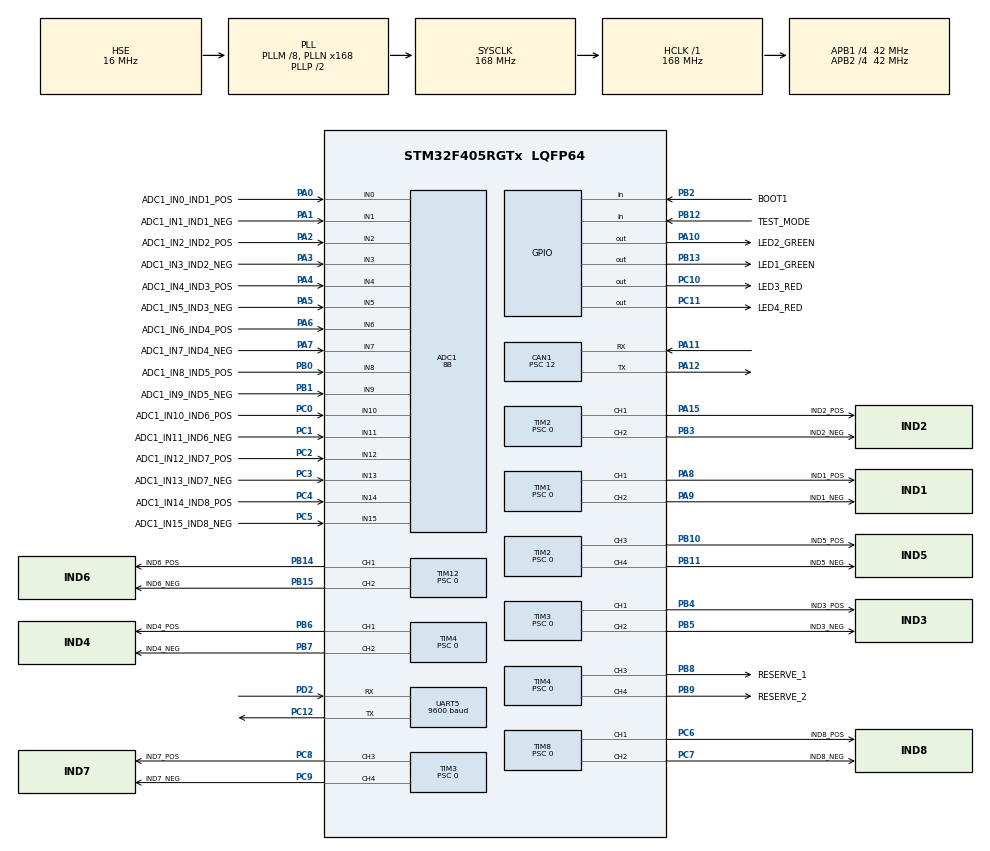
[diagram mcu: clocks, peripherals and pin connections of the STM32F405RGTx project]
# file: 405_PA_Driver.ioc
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ADC1.Channel-0\#ChannelRegularConversion=ADC_CHANNEL_4
ADC1.NbrOfConversionFlag=1
ADC1.Rank-0\#ChannelRegularConversion=1
ADC1.Resolution=ADC_RESOLUTION_8B
ADC1.SamplingTime-0\#ChannelRegularConversion=ADC_SAMPLETIME_3CYCLES
ADC1.master=1
CAN1.ABOM=ENABLE
CAN1.AWUM=DISABLE
CAN1.BS1=CAN_BS1_11TQ
CAN1.BS2=CAN_BS2_2TQ
CAN1.CalculateBaudRate=250000
CAN1.CalculateTimeBit=4000
CAN1.CalculateTimeQuantum=285.7142857142857
CAN1.NART=ENABLE
CAN1.Prescaler=12
CAN1.RFLM=ENABLE
CAN1.SJW=CAN_SJW_1TQ
CAN1.TXFP=ENABLE
Mcu.Family=STM32F4
Mcu.Name=STM32F405RGTx
Mcu.Package=LQFP64
NVIC.ADC_IRQn=true\:5\:0\:true\:false\:true\:true\:true\:true
NVIC.CAN1_RX0_IRQn=true\:0\:0\:false\:false\:true\:true\:true\:true
NVIC.CAN1_RX1_IRQn=true\:0\:0\:false\:false\:true\:true\:true\:true
NVIC.CAN1_SCE_IRQn=true\:0\:0\:false\:false\:true\:true\:true\:true
NVIC.CAN1_TX_IRQn=true\:0\:0\:false\:false\:true\:true\:true\:true
NVIC.PriorityGroup=NVIC_PRIORITYGROUP_4
NVIC.TIM5_IRQn=true\:0\:0\:false\:false\:true\:true\:true\:true
NVIC.TIM6_DAC_IRQn=true\:15\:0\:false\:false\:true\:false\:true\:true
NVIC.TIM7_IRQn=true\:0\:0\:false\:false\:true\:true\:true\:true
NVIC.TIM8_TRG_COM_TIM14_IRQn=true\:0\:0\:false\:false\:true\:true\:true\:true
NVIC.TimeBase=TIM6_DAC_IRQn
NVIC.TimeBaseIP=TIM6
NVIC.UART5_IRQn=true\:0\:0\:false\:false\:true\:true\:true\:true
PA0-WKUP.GPIO_Label=ADC1_IN0_IND1_POS
PA0-WKUP.Signal=ADCx_IN0
PA1.GPIO_Label=ADC1_IN1_IND1_NEG
PA1.Signal=ADCx_IN1
PA10.GPIO_Label=LED2_GREEN
PA10.Signal=GPIO_Output
PA11.Mode=CAN_Activate
PA11.Signal=CAN1_RX
PA12.Mode=CAN_Activate
PA12.Signal=CAN1_TX
PA13.Mode=Serial_Wire
PA13.Signal=SYS_JTMS-SWDIO
PA14.Mode=Serial_Wire
PA14.Signal=SYS_JTCK-SWCLK
PA15.GPIO_Label=IND2_POS
PA15.GPIO_PuPd=GPIO_NOPULL
PA15.GPIO_Speed=GPIO_SPEED_FREQ_HIGH
PA15.Signal=S_TIM2_CH1_ETR
PA2.GPIO_Label=ADC1_IN2_IND2_POS
PA2.Signal=ADCx_IN2
PA3.GPIO_Label=ADC1_IN3_IND2_NEG
PA3.Signal=ADCx_IN3
PA4.GPIO_Label=ADC1_IN4_IND3_POS
PA4.Signal=ADCx_IN4
PA5.GPIO_Label=ADC1_IN5_IND3_NEG
PA5.Signal=ADCx_IN5
PA6.GPIO_Label=ADC1_IN6_IND4_POS
PA6.Signal=ADCx_IN6
PA7.GPIO_Label=ADC1_IN7_IND4_NEG
PA7.Signal=ADCx_IN7
PA8.GPIO_Label=IND1_POS
PA8.GPIO_PuPd=GPIO_NOPULL
PA8.GPIO_Speed=GPIO_SPEED_FREQ_HIGH
PA8.Signal=S_TIM1_CH1
PA9.GPIO_Label=IND1_NEG
PA9.GPIO_PuPd=GPIO_NOPULL
PA9.GPIO_Speed=GPIO_SPEED_FREQ_HIGH
PA9.Signal=S_TIM1_CH2
PB0.GPIO_Label=ADC1_IN8_IND5_POS
PB0.Signal=ADCx_IN8
PB1.GPIO_Label=ADC1_IN9_IND5_NEG
PB1.Signal=ADCx_IN9
PB10.GPIO_Label=IND5_POS
PB10.GPIO_PuPd=GPIO_NOPULL
PB10.GPIO_Speed=GPIO_SPEED_FREQ_HIGH
PB10.Signal=S_TIM2_CH3
PB11.GPIO_Label=IND5_NEG
PB11.GPIO_PuPd=GPIO_NOPULL
PB11.GPIO_Speed=GPIO_SPEED_FREQ_HIGH
PB11.Signal=S_TIM2_CH4
PB12.GPIO_Label=TEST_MODE
PB12.Signal=GPIO_Input
PB13.GPIO_Label=LED1_GREEN
PB13.Signal=GPIO_Output
PB14.GPIO_Label=IND6_POS
PB14.GPIO_Speed=GPIO_SPEED_FREQ_HIGH
PB14.Signal=S_TIM12_CH1
PB15.GPIO_Label=IND6_NEG
PB15.GPIO_Speed=GPIO_SPEED_FREQ_HIGH
PB15.Signal=S_TIM12_CH2
PB2.GPIO_Label=BOOT1
PB2.Signal=GPIO_Input
PB3.GPIO_Label=IND2_NEG
PB3.GPIO_PuPd=GPIO_NOPULL
PB3.GPIO_Speed=GPIO_SPEED_FREQ_HIGH
PB3.Signal=S_TIM2_CH2
PB4.GPIO_Label=IND3_POS
PB4.GPIO_PuPd=GPIO_NOPULL
PB4.GPIO_Speed=GPIO_SPEED_FREQ_HIGH
PB4.Signal=S_TIM3_CH1
PB5.GPIO_Label=IND3_NEG
PB5.GPIO_PuPd=GPIO_NOPULL
PB5.GPIO_Speed=GPIO_SPEED_FREQ_HIGH
PB5.Signal=S_TIM3_CH2
PB6.GPIO_Label=IND4_POS
PB6.GPIO_Speed=GPIO_SPEED_FREQ_HIGH
PB6.Signal=S_TIM4_CH1
PB7.GPIO_Label=IND4_NEG
PB7.GPIO_Speed=GPIO_SPEED_FREQ_HIGH
PB7.Signal=S_TIM4_CH2
PB8.GPIO_Label=RESERVE_1
PB8.GPIO_Speed=GPIO_SPEED_FREQ_HIGH
PB8.Signal=S_TIM4_CH3
PB9.GPIO_Label=RESERVE_2
PB9.GPIO_Speed=GPIO_SPEED_FREQ_HIGH
PB9.Signal=S_TIM4_CH4
PC0.GPIO_Label=ADC1_IN10_IND6_POS
PC0.Signal=ADCx_IN10
PC1.GPIO_Label=ADC1_IN11_IND6_NEG
PC1.Signal=ADCx_IN11
PC10.GPIO_Label=LED3_RED
PC10.Signal=GPIO_Output
PC11.GPIO_Label=LED4_RED
PC11.Signal=GPIO_Output
PC12.Mode=Asynchronous
PC12.Signal=UART5_TX
PC2.GPIO_Label=ADC1_IN12_IND7_POS
PC2.Signal=ADCx_IN12
PC3.GPIO_Label=ADC1_IN13_IND7_NEG
PC3.Signal=ADCx_IN13
PC4.GPIO_Label=ADC1_IN14_IND8_POS
PC4.Signal=ADCx_IN14
PC5.GPIO_Label=ADC1_IN15_IND8_NEG
PC5.Signal=ADCx_IN15
PC6.GPIO_Label=IND8_POS
PC6.GPIO_Speed=GPIO_SPEED_FREQ_HIGH
PC6.Signal=S_TIM8_CH1
PC7.GPIO_Label=IND8_NEG
PC7.GPIO_Speed=GPIO_SPEED_FREQ_HIGH
PC7.Signal=S_TIM8_CH2
PC8.GPIO_Label=IND7_POS
PC8.GPIO_PuPd=GPIO_NOPULL
PC8.GPIO_Speed=GPIO_SPEED_FREQ_HIGH
PC8.Signal=S_TIM3_CH3
PC9.GPIO_Label=IND7_NEG
PC9.GPIO_PuPd=GPIO_NOPULL
PC9.GPIO_Speed=GPIO_SPEED_FREQ_HIGH
PC9.Signal=S_TIM3_CH4
PD2.Mode=Asynchronous
PD2.Signal=UART5_RX
PH0-OSC_IN.Mode=HSE-External-Oscillator
PH0-OSC_IN.Signal=RCC_OSC_IN
PH1-OSC_OUT.Mode=HSE-External-Oscillator
PH1-OSC_OUT.Signal=RCC_OSC_OUT
ProjectManager.HeapSize=0x2000
ProjectManager.StackSize=0x2000
ProjectManager.TargetToolchain=EWARM V8.32
RCC.48MHZClocksFreq_Value=84000000
RCC.AHBFreq_Value=168000000
RCC.APB1CLKDivider=RCC_HCLK_DIV4
RCC.APB1Freq_Value=42000000
RCC.APB1TimFreq_Value=84000000
RCC.APB2CLKDivider=RCC_HCLK_DIV4
RCC.APB2Freq_Value=42000000
RCC.APB2TimFreq_Value=84000000
RCC.CortexFreq_Value=168000000
RCC.HCLKFreq_Value=168000000
RCC.HSE_VALUE=16000000
RCC.HSI_VALUE=16000000
RCC.LSE_VALUE=32768
RCC.PLLM=8
RCC.PLLN=168
RCC.PLLSourceVirtual=RCC_PLLSOURCE_HSE
RCC.SYSCLKFreq_VALUE=168000000
RCC.SYSCLKSource=RCC_SYSCLKSOURCE_PLLCLK
RCC.VCOOutputFreq_Value=336000000
SH.ADCx_IN0.0=ADC1_IN0,IN0
SH.ADCx_IN1.0=ADC1_IN1,IN1
SH.ADCx_IN10.0=ADC1_IN10,IN10
SH.ADCx_IN11.0=ADC1_IN11,IN11
SH.ADCx_IN12.0=ADC1_IN12,IN12
SH.ADCx_IN13.0=ADC1_IN13,IN13
SH.ADCx_IN14.0=ADC1_IN14,IN14
SH.ADCx_IN15.0=ADC1_IN15,IN15
SH.ADCx_IN2.0=ADC1_IN2,IN2
SH.ADCx_IN3.0=ADC1_IN3,IN3
SH.ADCx_IN4.0=ADC1_IN4,IN4
SH.ADCx_IN5.0=ADC1_IN5,IN5
SH.ADCx_IN6.0=ADC1_IN6,IN6
SH.ADCx_IN7.0=ADC1_IN7,IN7
SH.ADCx_IN8.0=ADC1_IN8,IN8
SH.ADCx_IN9.0=ADC1_IN9,IN9
SH.S_TIM12_CH1.0=TIM12_CH1,PWM Generation1 CH1
SH.S_TIM12_CH2.0=TIM12_CH2,PWM Generation2 CH2
SH.S_TIM1_CH1.0=TIM1_CH1,PWM Generation1 CH1
SH.S_TIM1_CH2.0=TIM1_CH2,PWM Generation2 CH2
SH.S_TIM2_CH1_ETR.0=TIM2_CH1,PWM Generation1 CH1
SH.S_TIM2_CH2.0=TIM2_CH2,PWM Generation2 CH2
SH.S_TIM2_CH3.0=TIM2_CH3,PWM Generation3 CH3
SH.S_TIM2_CH4.0=TIM2_CH4,PWM Generation4 CH4
SH.S_TIM3_CH1.0=TIM3_CH1,PWM Generation1 CH1
SH.S_TIM3_CH2.0=TIM3_CH2,PWM Generation2 CH2
SH.S_TIM3_CH3.0=TIM3_CH3,PWM Generation3 CH3
SH.S_TIM3_CH4.0=TIM3_CH4,PWM Generation4 CH4
SH.S_TIM4_CH1.0=TIM4_CH1,PWM Generation1 CH1
SH.S_TIM4_CH2.0=TIM4_CH2,PWM Generation2 CH2
SH.S_TIM4_CH3.0=TIM4_CH3,PWM Generation3 CH3
SH.S_TIM4_CH4.0=TIM4_CH4,PWM Generation4 CH4
SH.S_TIM8_CH1.0=TIM8_CH1,PWM Generation1 CH1
SH.S_TIM8_CH2.0=TIM8_CH2,PWM Generation2 CH2
TIM1.AutoReloadPreload=TIM_AUTORELOAD_PRELOAD_ENABLE
TIM1.Channel-PWM\ Generation1\ CH1=TIM_CHANNEL_1
TIM1.Channel-PWM\ Generation2\ CH2=TIM_CHANNEL_2
TIM1.OC1Preload_PWM=ENABLE
TIM1.OC2Preload_PWM=ENABLE
TIM1.OCPolarity_1=TIM_OCPOLARITY_LOW
TIM1.OCPolarity_2=TIM_OCPOLARITY_LOW
TIM1.Period=656
TIM1.Prescaler=0
TIM1.Pulse-PWM\ Generation1\ CH1=0
TIM1.Pulse-PWM\ Generation2\ CH2=0
TIM12.Channel-PWM\ Generation1\ CH1=TIM_CHANNEL_1
TIM12.Channel-PWM\ Generation2\ CH2=TIM_CHANNEL_2
TIM12.OCPolarity_1=TIM_OCPOLARITY_LOW
TIM12.OCPolarity_2=TIM_OCPOLARITY_LOW
TIM12.Period=656
TIM12.Prescaler=0
TIM12.Pulse-PWM\ Generation1\ CH1=0
TIM12.Pulse-PWM\ Generation2\ CH2=0
TIM14.AutoReloadPreload=TIM_AUTORELOAD_PRELOAD_ENABLE
TIM14.Channel=TIM_CHANNEL_1
TIM14.Period=100
TIM14.Prescaler=84
TIM2.AutoReloadPreload=TIM_AUTORELOAD_PRELOAD_ENABLE
TIM2.Channel-PWM\ Generation1\ CH1=TIM_CHANNEL_1
TIM2.Channel-PWM\ Generation2\ CH2=TIM_CHANNEL_2
TIM2.Channel-PWM\ Generation3\ CH3=TIM_CHANNEL_3
TIM2.Channel-PWM\ Generation4\ CH4=TIM_CHANNEL_4
TIM2.OCPolarity_1=TIM_OCPOLARITY_LOW
TIM2.OCPolarity_2=TIM_OCPOLARITY_LOW
TIM2.OCPolarity_3=TIM_OCPOLARITY_LOW
TIM2.OCPolarity_4=TIM_OCPOLARITY_LOW
TIM2.Period=656
TIM2.Prescaler=0
TIM2.Pulse-PWM\ Generation1\ CH1=0
TIM2.Pulse-PWM\ Generation2\ CH2=0
TIM2.Pulse-PWM\ Generation3\ CH3=0
TIM2.Pulse-PWM\ Generation4\ CH4=0
TIM2.TIM_MasterOutputTrigger=TIM_TRGO_RESET
TIM3.AutoReloadPreload=TIM_AUTORELOAD_PRELOAD_ENABLE
TIM3.Channel-PWM\ Generation1\ CH1=TIM_CHANNEL_1
TIM3.Channel-PWM\ Generation2\ CH2=TIM_CHANNEL_2
TIM3.Channel-PWM\ Generation3\ CH3=TIM_CHANNEL_3
TIM3.Channel-PWM\ Generation4\ CH4=TIM_CHANNEL_4
TIM3.OCPolarity_1=TIM_OCPOLARITY_LOW
TIM3.OCPolarity_2=TIM_OCPOLARITY_LOW
TIM3.OCPolarity_3=TIM_OCPOLARITY_LOW
TIM3.OCPolarity_4=TIM_OCPOLARITY_LOW
TIM3.Period=325
TIM3.Prescaler=0
TIM3.Pulse-PWM\ Generation1\ CH1=0
TIM3.Pulse-PWM\ Generation2\ CH2=0
TIM3.Pulse-PWM\ Generation3\ CH3=0
TIM3.Pulse-PWM\ Generation4\ CH4=0
TIM4.AutoReloadPreload=TIM_AUTORELOAD_PRELOAD_ENABLE
TIM4.Channel-PWM\ Generation1\ CH1=TIM_CHANNEL_1
TIM4.Channel-PWM\ Generation2\ CH2=TIM_CHANNEL_2
TIM4.Channel-PWM\ Generation3\ CH3=TIM_CHANNEL_3
TIM4.Channel-PWM\ Generation4\ CH4=TIM_CHANNEL_4
TIM4.OCPolarity_1=TIM_OCPOLARITY_LOW
TIM4.OCPolarity_2=TIM_OCPOLARITY_LOW
TIM4.OCPolarity_3=TIM_OCPOLARITY_LOW
TIM4.OCPolarity_4=TIM_OCPOLARITY_LOW
TIM4.Period=656
TIM4.Prescaler=0
TIM4.Pulse-PWM\ Generation1\ CH1=0
TIM4.Pulse-PWM\ Generation2\ CH2=0
TIM4.Pulse-PWM\ Generation3\ CH3=0
TIM5.AutoReloadPreload=TIM_AUTORELOAD_PRELOAD_ENABLE
TIM5.Period=5999
TIM5.Prescaler=13999
TIM7.Period=600
TIM7.Prescaler=140
TIM8.Channel-PWM\ Generation1\ CH1=TIM_CHANNEL_1
TIM8.Channel-PWM\ Generation2\ CH2=TIM_CHANNEL_2
TIM8.OCPolarity_1=TIM_OCPOLARITY_LOW
TIM8.OCPolarity_2=TIM_OCPOLARITY_LOW
TIM8.Period=656
TIM8.Prescaler=0
TIM8.Pulse-PWM\ Generation1\ CH1=0
TIM8.Pulse-PWM\ Generation2\ CH2=0
UART5.BaudRate=9600
UART5.Mode=MODE_RX
UART5.OverSampling=UART_OVERSAMPLING_16
UART5.VirtualMode=Asynchronous
VP_CRC_VS_CRC.Mode=CRC_Activate
VP_SYS_VS_tim6.Mode=TIM6
VP_TIM14_VS_ClockSourceINT.Mode=Enable_Timer
VP_TIM14_VS_no_output1.Mode=Output Compare1 No Output
VP_TIM5_VS_ClockSourceINT.Mode=Internal
VP_TIM7_VS_ClockSourceINT.Mode=Enable_Timer
board=custom

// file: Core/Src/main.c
/* USER CODE BEGIN Header */
/**
  ******************************************************************************
  * @file           : main.c
  * @brief          : Main program body
  ******************************************************************************
  * @attention
  *
  * Copyright (c) 2022 STMicroelectronics.
  * All rights reserved.
  *
  * This software is licensed under terms that can be found in the LICENSE file
  * in the root directory of this software component.
  * If no LICENSE file comes with this software, it is provided AS-IS.
  *
  ******************************************************************************
  */
/* USER CODE END Header */
#include "main.h"
#include "adc.h"
#include "can.h"
#include "crc.h"
#include "tim.h"
#include "usart.h"
#include "gpio.h"

/* USER CODE BEGIN Includes */
#include "App\c_interface\sig_gen_interface.h"
/* USER CODE END Includes */

/* USER CODE BEGIN PD */
void TestFreqChange();
void MY_SIG_GEN_Init();
/* USER CODE END PD */

/* USER CODE BEGIN PV */
  SIG_GEN_HandleTypeDef sig_gen_0 = {0};
  SIG_GEN_HandleTypeDef sig_gen_1 = {0};
  SIG_GEN_HandleTypeDef sig_gen_2 = {0};
  SIG_GEN_HandleTypeDef sig_gen_3 = {0};
  SIG_GEN_HandleTypeDef sig_gen_4 = {0};
  SIG_GEN_HandleTypeDef sig_gen_5 = {0};
  SIG_GEN_HandleTypeDef sig_gen_6 = {0};
  SIG_GEN_HandleTypeDef sig_gen_7 = {0};
  static const uint32_t DELAY = 6000;

  static SIG_GEN_RangeCoeff amp_array_[] = {
    { 0., 0.3, 1.0 },
    { 0.3, 0.5, 1.0 },
    { 0.5, 1.0, 1.0 }
  };

  static SIG_GEN_RangeCoeff freq_array_[] = {
    { 0., 20., 1.0 },
    { 20., 50., 1.0 },
    { 50., 5000., 1.0 }
  };

  static SIG_GEN_CoeffsInitStruct corr_array_[] = {
    amp_array_,
    3,
    freq_array_,
    3
  };

/* USER CODE END PV */

void SystemClock_Config(void);

int main(void)
{

  /* MCU Configuration--------------------------------------------------------*/

  /* Reset of all peripherals, Initializes the Flash interface and the Systick. */
  HAL_Init();

  /* Configure the system clock */
  SystemClock_Config();

  /* Initialize all configured peripherals */
  MX_GPIO_Init();
  MX_ADC1_Init();
  MX_TIM1_Init();
  MX_TIM2_Init();
  MX_TIM3_Init();
  MX_TIM4_Init();
  MX_TIM8_Init();
  MX_TIM12_Init();
  MX_CAN1_Init();
  MX_CRC_Init();
  MX_TIM5_Init();
  MX_TIM7_Init();
  MX_UART5_Init();
  MX_TIM14_Init();
  /* USER CODE BEGIN 2 */
//  InitPwmControllers();
  MY_SIG_GEN_Init();
  HAL_TIM_Base_Start_IT(&htim14);
//  SIG_GEN_SetSignalType(&sig_gen_3, SIG_GEN_CARRIER, SIG_GEN_TYPE_SQUARE);
//  HAL_Delay(DELAY);
//  SIG_GEN_SetSignalType(&sig_gen_3, SIG_GEN_CARRIER, SIG_GEN_TYPE_TRIANGLE);
//  HAL_Delay(DELAY);
//  SIG_GEN_SetSignalType(&sig_gen_3, SIG_GEN_CARRIER, SIG_GEN_TYPE_SAW);
  /* USER CODE END 2 */

  /* Infinite loop */
  while (1)
  {

    /* USER CODE BEGIN 3 */
//    SIG_GEN_SetSignalType(&sig_gen_3, SIG_GEN_CARRIER, SIG_GEN_TYPE_SINUS);
//    HAL_Delay(3000);
//    TestAmpChange();
    TestFreqChange();
//    SIG_GEN_SetSignalType(&sig_gen_3, SIG_GEN_CARRIER, SIG_GEN_TYPE_SQUARE);
//    TestAmpChange();
//    TestFreqChange();
//    SIG_GEN_SetSignalType(&sig_gen_3, SIG_GEN_CARRIER, SIG_GEN_TYPE_TRIANGLE);
//    TestAmpChange();
//    TestFreqChange();
//    SIG_GEN_SetSignalType(&sig_gen_3, SIG_GEN_CARRIER, SIG_GEN_TYPE_SAW);
//    TestAmpChange();
//    TestFreqChange();
//    TestAmpModChange();

//    SIG_GEN_SetCarrierAmp(&sig_gen_3, 1.0);
//    SIG_GEN_SetFreq(&sig_gen_3, SIG_GEN_CARRIER, 10);
//    SIG_GEN_SetSignalType(&sig_gen_3, SIG_GEN_AMP_MOD, SIG_GEN_TYPE_SINUS);
//    HAL_Delay(DELAY);
//    SIG_GEN_SetSignalType(&sig_gen_3, SIG_GEN_AMP_MOD, SIG_GEN_TYPE_SQUARE);
//    HAL_Delay(DELAY);
//    SIG_GEN_SetSignalType(&sig_gen_3, SIG_GEN_AMP_MOD, SIG_GEN_TYPE_TRIANGLE);
//    HAL_Delay(DELAY);
//    SIG_GEN_SetSignalType(&sig_gen_3, SIG_GEN_AMP_MOD, SIG_GEN_TYPE_SAW);
//    HAL_Delay(DELAY);
//    TestModDepthChange();
//    TestModSensChange();
  }
  /* USER CODE END 3 */
}

void SystemClock_Config(void)
{
  RCC_OscInitTypeDef RCC_OscInitStruct = {0};
  RCC_ClkInitTypeDef RCC_ClkInitStruct = {0};

  /** Configure the main internal regulator output voltage
  */
  __HAL_RCC_PWR_CLK_ENABLE();
  __HAL_PWR_VOLTAGESCALING_CONFIG(PWR_REGULATOR_VOLTAGE_SCALE1);
  /** Initializes the RCC Oscillators according to the specified parameters
  * in the RCC_OscInitTypeDef structure.
  */
  RCC_OscInitStruct.OscillatorType = RCC_OSCILLATORTYPE_HSE;
  RCC_OscInitStruct.HSEState = RCC_HSE_ON;
  RCC_OscInitStruct.PLL.PLLState = RCC_PLL_ON;
  RCC_OscInitStruct.PLL.PLLSource = RCC_PLLSOURCE_HSE;
  RCC_OscInitStruct.PLL.PLLM = 8;
  RCC_OscInitStruct.PLL.PLLN = 168;
  RCC_OscInitStruct.PLL.PLLP = RCC_PLLP_DIV2;
  RCC_OscInitStruct.PLL.PLLQ = 4;
  if (HAL_RCC_OscConfig(&RCC_OscInitStruct) != HAL_OK)
  {
    Error_Handler();
  }
  /** Initializes the CPU, AHB and APB buses clocks
  */
  RCC_ClkInitStruct.ClockType = RCC_CLOCKTYPE_HCLK|RCC_CLOCKTYPE_SYSCLK
                              |RCC_CLOCKTYPE_PCLK1|RCC_CLOCKTYPE_PCLK2;
  RCC_ClkInitStruct.SYSCLKSource = RCC_SYSCLKSOURCE_PLLCLK;
  RCC_ClkInitStruct.AHBCLKDivider = RCC_SYSCLK_DIV1;
  RCC_ClkInitStruct.APB1CLKDivider = RCC_HCLK_DIV4;
  RCC_ClkInitStruct.APB2CLKDivider = RCC_HCLK_DIV4;

  if (HAL_RCC_ClockConfig(&RCC_ClkInitStruct, FLASH_LATENCY_5) != HAL_OK)
  {
    Error_Handler();
  }
}

/* USER CODE BEGIN 4 */
void MY_SIG_GEN_Init() {
  sig_gen_0.pwm_timer = &htim1;
  sig_gen_0.channels[0] = TIM_CHANNEL_1;
  sig_gen_0.channels[1] = TIM_CHANNEL_2;
  sig_gen_0.min_duty_cycle_percent = 60;
  sig_gen_0.max_duty_cycle_percent = 75;
  if (SIG_GEN_Init(&sig_gen_0) != SIG_GEN_OK) {
    Error_Handler();
  }

  sig_gen_1.pwm_timer = &htim2;
  sig_gen_1.channels[0] = TIM_CHANNEL_1;
  sig_gen_1.channels[1] = TIM_CHANNEL_2;
  sig_gen_1.min_duty_cycle_percent = 60;
  sig_gen_1.max_duty_cycle_percent = 75;
  if (SIG_GEN_Init(&sig_gen_1) != SIG_GEN_OK) {
    Error_Handler();
  }

  sig_gen_2.pwm_timer = &htim2;
  sig_gen_2.channels[0] = TIM_CHANNEL_3;
  sig_gen_2.channels[1] = TIM_CHANNEL_4;
  sig_gen_2.min_duty_cycle_percent = 60;
  sig_gen_2.max_duty_cycle_percent = 75;
  if (SIG_GEN_Init(&sig_gen_2) != SIG_GEN_OK) {
    Error_Handler();
  }

  sig_gen_3.pwm_timer = &htim3;
  sig_gen_3.channels[0] = TIM_CHANNEL_1;
  sig_gen_3.channels[1] = TIM_CHANNEL_2;
  sig_gen_3.min_duty_cycle_percent = 55;
  sig_gen_3.max_duty_cycle_percent = 85;
  sig_gen_3.coeffs = corr_array_;
  if (SIG_GEN_Init(&sig_gen_3) != SIG_GEN_OK) {
    Error_Handler();
  }
  SIG_GEN_SetSignalType(&sig_gen_3, SIG_GEN_CARRIER, SIG_GEN_TYPE_SINUS);
  SIG_GEN_SetFreq(&sig_gen_3, SIG_GEN_CARRIER, 100.);

  sig_gen_4.pwm_timer = &htim3;
  sig_gen_4.channels[0] = TIM_CHANNEL_3;
  sig_gen_4.channels[1] = TIM_CHANNEL_4;
  sig_gen_4.min_duty_cycle_percent = 60;
  sig_gen_4.max_duty_cycle_percent = 75;
  if (SIG_GEN_Init(&sig_gen_4) != SIG_GEN_OK) {
    Error_Handler();
  }

  sig_gen_5.pwm_timer = &htim4;
  sig_gen_5.channels[0] = TIM_CHANNEL_1;
  sig_gen_5.channels[1] = TIM_CHANNEL_2;
  sig_gen_5.min_duty_cycle_percent = 60;
  sig_gen_5.max_duty_cycle_percent = 75;
  if (SIG_GEN_Init(&sig_gen_5) != SIG_GEN_OK) {
    Error_Handler();
  }

  sig_gen_6.pwm_timer = &htim8;
  sig_gen_6.channels[0] = TIM_CHANNEL_1;
  sig_gen_6.channels[1] = TIM_CHANNEL_2;
  sig_gen_6.min_duty_cycle_percent = 60;
  sig_gen_6.max_duty_cycle_percent = 75;
  if (SIG_GEN_Init(&sig_gen_6) != SIG_GEN_OK) {
    Error_Handler();
  }

  sig_gen_7.pwm_timer = &htim12;
  sig_gen_7.channels[0] = TIM_CHANNEL_1;
  sig_gen_7.channels[1] = TIM_CHANNEL_2;
  sig_gen_7.min_duty_cycle_percent = 60;
  sig_gen_7.max_duty_cycle_percent = 75;
  if (SIG_GEN_Init(&sig_gen_7) != SIG_GEN_OK) {
    Error_Handler();
  }
}

void TestAmpChange() {
  SIG_GEN_SetCarrierAmp(&sig_gen_3, 0.0);
  HAL_Delay(DELAY);
  SIG_GEN_SetCarrierAmp(&sig_gen_3, 0.3);
  HAL_Delay(DELAY);
  SIG_GEN_SetCarrierAmp(&sig_gen_3, 0.5);
  HAL_Delay(DELAY);
  SIG_GEN_SetCarrierAmp(&sig_gen_3, 1.0);
  HAL_Delay(DELAY);
}

void TestFreqChange() {
//  SIG_GEN_SetFreq(&sig_gen_3, SIG_GEN_CARRIER, 1.);
//  HAL_Delay(DELAY);
//  SIG_GEN_SetFreq(&sig_gen_3, SIG_GEN_CARRIER, 10.);
//  HAL_Delay(DELAY);
//  SIG_GEN_SetFreq(&sig_gen_3, SIG_GEN_CARRIER, 30.);
//  HAL_Delay(DELAY);
  SIG_GEN_SetFreq(&sig_gen_3, SIG_GEN_CARRIER, 100.);
  HAL_Delay(DELAY);
}

void TestAmpModChange() {
  SIG_GEN_SetCarrierAmp(&sig_gen_3, 1.0);
  SIG_GEN_SetFreq(&sig_gen_3, SIG_GEN_CARRIER, 50);
  SIG_GEN_SetSignalType(&sig_gen_3, SIG_GEN_AMP_MOD, SIG_GEN_TYPE_NONE);
  HAL_Delay(DELAY);
  SIG_GEN_SetSignalType(&sig_gen_3, SIG_GEN_AMP_MOD, SIG_GEN_TYPE_SINUS);
  HAL_Delay(DELAY);
  SIG_GEN_SetSignalType(&sig_gen_3, SIG_GEN_AMP_MOD, SIG_GEN_TYPE_SQUARE);
  HAL_Delay(DELAY);
  SIG_GEN_SetSignalType(&sig_gen_3, SIG_GEN_AMP_MOD, SIG_GEN_TYPE_TRIANGLE);
  HAL_Delay(DELAY);
  SIG_GEN_SetSignalType(&sig_gen_3, SIG_GEN_AMP_MOD, SIG_GEN_TYPE_SAW);
  HAL_Delay(DELAY);
  SIG_GEN_SetFreq(&sig_gen_3, SIG_GEN_CARRIER, SIG_GEN_DEFAULT_SENS_AMP);
  SIG_GEN_SetSignalType(&sig_gen_3, SIG_GEN_AMP_MOD, SIG_GEN_TYPE_NONE);
}

void TestModDepthChange() {
  SIG_GEN_SetAmpModDepth(&sig_gen_3, SIG_GEN_DEFAULT_SENS_AMP);
  HAL_Delay(DELAY);
  SIG_GEN_SetAmpModDepth(&sig_gen_3, 90);
  HAL_Delay(DELAY);
  SIG_GEN_SetAmpModDepth(&sig_gen_3, 80);
  HAL_Delay(DELAY);
  SIG_GEN_SetAmpModDepth(&sig_gen_3, 70);
  HAL_Delay(DELAY);
  SIG_GEN_SetAmpModDepth(&sig_gen_3, 60);
  HAL_Delay(DELAY);
  SIG_GEN_SetAmpModDepth(&sig_gen_3, 50);
  HAL_Delay(DELAY);
  SIG_GEN_SetAmpModDepth(&sig_gen_3, 40);
  HAL_Delay(DELAY);
  SIG_GEN_SetAmpModDepth(&sig_gen_3, 30);
  HAL_Delay(DELAY);
  SIG_GEN_SetAmpModDepth(&sig_gen_3, 20);
  HAL_Delay(DELAY);
  SIG_GEN_SetAmpModDepth(&sig_gen_3, 10);
  HAL_Delay(DELAY);
  SIG_GEN_SetAmpModDepth(&sig_gen_3, 0);
  HAL_Delay(DELAY);
  SIG_GEN_SetAmpModDepth(&sig_gen_3, SIG_GEN_DEFAULT_SENS_AMP);
}

void TestModSensChange() {
  SIG_GEN_SetFreqModSens(&sig_gen_3, 0);
  HAL_Delay(DELAY);
  SIG_GEN_SetFreqModSens(&sig_gen_3, 10);
  HAL_Delay(DELAY);
  SIG_GEN_SetFreqModSens(&sig_gen_3, 20);
  HAL_Delay(DELAY);
  SIG_GEN_SetFreqModSens(&sig_gen_3, 30);
  HAL_Delay(DELAY);
  SIG_GEN_SetFreqModSens(&sig_gen_3, 40);
  HAL_Delay(DELAY);
  SIG_GEN_SetFreqModSens(&sig_gen_3, 50);
  HAL_Delay(DELAY);
  SIG_GEN_SetFreqModSens(&sig_gen_3, 60);
  HAL_Delay(DELAY);
  SIG_GEN_SetFreqModSens(&sig_gen_3, 70);
  HAL_Delay(DELAY);
  SIG_GEN_SetFreqModSens(&sig_gen_3, 80);
  HAL_Delay(DELAY);
  SIG_GEN_SetFreqModSens(&sig_gen_3, 90);
  HAL_Delay(DELAY);
  SIG_GEN_SetFreqModSens(&sig_gen_3, SIG_GEN_DEFAULT_SENS_AMP);
  HAL_Delay(DELAY);
}

/* USER CODE END 4 */

void HAL_TIM_PeriodElapsedCallback(TIM_HandleTypeDef *htim)
{
  if (htim->Instance == TIM6) {
    HAL_IncTick();
  }
  /* USER CODE BEGIN Callback 1 */
  else if (htim->Instance == TIM14) {
    SIG_GEN_Run(&sig_gen_3);
  }
  /* USER CODE END Callback 1 */
}

void Error_Handler(void)
{
  __disable_irq();
  while (1)
  {
  }
}
